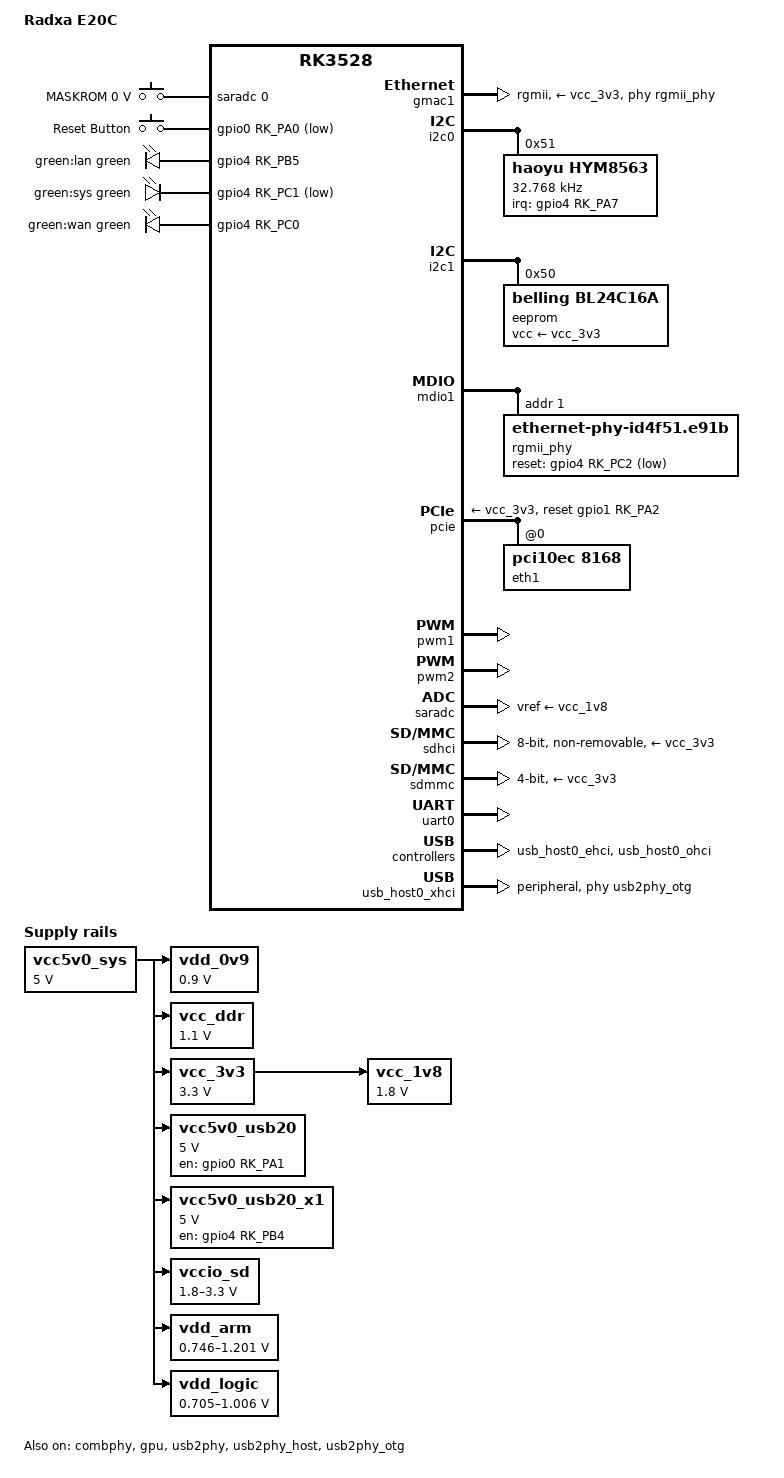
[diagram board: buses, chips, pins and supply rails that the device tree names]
// SPDX-License-Identifier: GPL-2.0+
/*
 * Copyright (c) 2020 Rockchip Electronics Co., Ltd
 * Copyright (c) 2024 Radxa Limited
 * Copyright (c) 2024 Yao Zi <ziyao@disroot.org>
 */

/dts-v1/;

#include <dt-bindings/input/input.h>
#include <dt-bindings/leds/common.h>
#include <dt-bindings/pwm/pwm.h>
#include "rk3528.dtsi"

/ {
	model = "Radxa E20C";
	compatible = "radxa,e20c", "rockchip,rk3528";

	aliases {
		ethernet0 = &gmac1;
		i2c1 = &i2c1;
		mmc0 = &sdmmc;
		mmc1 = &sdhci;
		serial0 = &uart0;
	};

	chosen {
		stdout-path = "serial0:1500000n8";
	};

	adc-keys {
		compatible = "adc-keys";
		io-channels = <&saradc 0>;
		io-channel-names = "buttons";
		keyup-threshold-microvolt = <1800000>;
		poll-interval = <100>;

		button-maskrom {
			label = "MASKROM";
			linux,code = <KEY_SETUP>;
			press-threshold-microvolt = <0>;
		};
	};

	gpio-keys {
		compatible = "gpio-keys";
		pinctrl-names = "default";
		pinctrl-0 = <&user_key>;

		button-user {
			gpios = <&gpio0 RK_PA0 GPIO_ACTIVE_LOW>;
			label = "Reset Button";
			linux,code = <KEY_RESTART>;
			wakeup-source;
		};
	};

	leds {
		compatible = "gpio-leds";
		pinctrl-names = "default";
		pinctrl-0 = <&lan_led_g>, <&sys_led_g>, <&wan_led_g>;

		led-lan {
			color = <LED_COLOR_ID_GREEN>;
			default-state = "off";
			label = "green:lan";
			function = LED_FUNCTION_LAN;
			gpios = <&gpio4 RK_PB5 GPIO_ACTIVE_HIGH>;
			linux,default-trigger = "netdev";
		};

		led-sys {
			color = <LED_COLOR_ID_GREEN>;
			default-state = "on";
			label = "green:sys";
			function = LED_FUNCTION_HEARTBEAT;
			gpios = <&gpio4 RK_PC1 GPIO_ACTIVE_LOW>;
			linux,default-trigger = "heartbeat";
		};

		led-wan {
			color = <LED_COLOR_ID_GREEN>;
			default-state = "off";
			label = "green:wan";
			function = LED_FUNCTION_WAN;
			gpios = <&gpio4 RK_PC0 GPIO_ACTIVE_HIGH>;
			linux,default-trigger = "netdev";
		};
	};

	vdd_0v9: regulator-0v9-vdd {
		compatible = "regulator-fixed";
		regulator-name = "vdd_0v9";
		regulator-always-on;
		regulator-boot-on;
		regulator-min-microvolt = <900000>;
		regulator-max-microvolt = <900000>;
		vin-supply = <&vcc5v0_sys>;
	};

	vcc_ddr: regulator-1v1-vcc-ddr {
		compatible = "regulator-fixed";
		regulator-name = "vcc_ddr";
		regulator-always-on;
		regulator-boot-on;
		regulator-min-microvolt = <1100000>;
		regulator-max-microvolt = <1100000>;
		vin-supply = <&vcc5v0_sys>;
	};

	vcc_1v8: regulator-1v8-vcc {
		compatible = "regulator-fixed";
		regulator-name = "vcc_1v8";
		regulator-always-on;
		regulator-boot-on;
		regulator-min-microvolt = <1800000>;
		regulator-max-microvolt = <1800000>;
		vin-supply = <&vcc_3v3>;
	};

	vcc_3v3: regulator-3v3-vcc {
		compatible = "regulator-fixed";
		regulator-name = "vcc_3v3";
		regulator-always-on;
		regulator-boot-on;
		regulator-min-microvolt = <3300000>;
		regulator-max-microvolt = <3300000>;
		vin-supply = <&vcc5v0_sys>;
	};

	vcc5v0_sys: regulator-5v0-vcc-sys {
		compatible = "regulator-fixed";
		regulator-name = "vcc5v0_sys";
		regulator-always-on;
		regulator-boot-on;
		regulator-min-microvolt = <5000000>;
		regulator-max-microvolt = <5000000>;
	};

	vcc5v0_usb20: regulator-5v0-vcc-usb20 {
		compatible = "regulator-fixed";
		enable-active-high;
		gpios = <&gpio0 RK_PA1 GPIO_ACTIVE_HIGH>;
		pinctrl-names = "default";
		pinctrl-0 = <&usb_host_en>;
		regulator-name = "vcc5v0_usb20";
		regulator-min-microvolt = <5000000>;
		regulator-max-microvolt = <5000000>;
		vin-supply = <&vcc5v0_sys>;
	};

	/* In radxa_e20c_x1000_schematic.pdf, GPIO4 RK_PB4 is used as USB20_HOST_EN. */
	vcc5v0_usb20_x1: regulator-5v0-vcc-usb20-x1 {
		compatible = "regulator-fixed";
		enable-active-high;
		gpios = <&gpio4 RK_PB4 GPIO_ACTIVE_HIGH>;
		pinctrl-names = "default";
		pinctrl-0 = <&usb_host_en_x1>;
		regulator-always-on;
		regulator-boot-on;
		regulator-name = "vcc5v0_usb20_x1";
		regulator-min-microvolt = <5000000>;
		regulator-max-microvolt = <5000000>;
		vin-supply = <&vcc5v0_sys>;
	};

	vccio_sd: regulator-vccio-sd {
		compatible = "regulator-gpio";
		gpios = <&gpio4 RK_PB6 GPIO_ACTIVE_HIGH>;
		pinctrl-names = "default";
		pinctrl-0 = <&sdmmc_vol_ctrl_h>;
		regulator-name = "vccio_sd";
		regulator-min-microvolt = <1800000>;
		regulator-max-microvolt = <3300000>;
		states = <1800000 0x0>, <3300000 0x1>;
		vin-supply = <&vcc5v0_sys>;
	};

	vdd_arm: regulator-vdd-arm {
		compatible = "pwm-regulator";
		pwms = <&pwm1 0 5000 PWM_POLARITY_INVERTED>;
		pwm-supply = <&vcc5v0_sys>;
		regulator-name = "vdd_arm";
		regulator-always-on;
		regulator-boot-on;
		regulator-min-microvolt = <746000>;
		regulator-max-microvolt = <1201000>;
		regulator-settling-time-up-us = <250>;
	};

	vdd_logic: regulator-vdd-logic {
		compatible = "pwm-regulator";
		pwms = <&pwm2 0 5000 PWM_POLARITY_INVERTED>;
		pwm-supply = <&vcc5v0_sys>;
		regulator-name = "vdd_logic";
		regulator-always-on;
		regulator-boot-on;
		regulator-min-microvolt = <705000>;
		regulator-max-microvolt = <1006000>;
		regulator-settling-time-up-us = <250>;
	};
};

&combphy {
	status = "okay";
};

&cpu0 {
	cpu-supply = <&vdd_arm>;
};

&cpu1 {
	cpu-supply = <&vdd_arm>;
};

&cpu2 {
	cpu-supply = <&vdd_arm>;
};

&cpu3 {
	cpu-supply = <&vdd_arm>;
};

&gmac1 {
	/* Please Fix me:
	 * When snps,tso exists,
	 * it may cause the netdev watchdog to time out
	 */
	/delete-property/ snps,tso;

	clock_in_out = "output";
	label = "eth0";
	phy-handle = <&rgmii_phy>;
	phy-mode = "rgmii";
	phy-supply = <&vcc_3v3>;
	pinctrl-names = "default";
	pinctrl-0 = <&rgmii_miim>, <&rgmii_tx_bus2>, <&rgmii_rx_bus2>,
		    <&rgmii_rgmii_clk>, <&rgmii_rgmii_bus>;

	tx_delay = <0x2e>;
	rx_delay = <0x16>;

	status = "okay";
};

&gpu {
	mali-supply = <&vdd_logic>;
	status = "okay";
};

&i2c0 {
	pinctrl-names = "default";
	pinctrl-0 = <&i2c0m1_xfer>;
	status = "okay";

	hym8563: hym8563@51 {
		compatible = "haoyu,hym8563";
		reg = <0x51>;
		#clock-cells = <0>;
		clock-frequency = <32768>;
		clock-output-names = "hym8563";
		pinctrl-names = "default";
		pinctrl-0 = <&hym8563_int>;
		interrupt-parent = <&gpio4>;
		interrupts = <RK_PA7 IRQ_TYPE_LEVEL_LOW>;
		wakeup-source;
	};
};

&i2c0m1_xfer {
	rockchip,pins =
			/* i2c0_scl_m1 */
			<4 RK_PA1 2 &pcfg_pull_up>,
			/* i2c0_sda_m1 */
			<4 RK_PA0 2 &pcfg_pull_up>;
};

&i2c1 {
	pinctrl-names = "default";
	pinctrl-0 = <&i2c1m0_xfer>;
	status = "okay";

	eeprom@50 {
		compatible = "belling,bl24c16a", "atmel,24c16";
		reg = <0x50>;
		pagesize = <16>;
		read-only;
		vcc-supply = <&vcc_3v3>;
	};
};

&mdio1 {
	rgmii_phy: ethernet-phy@1 {
		/* Motorcomm YT8531 (Rockchip RK631) */
		compatible = "ethernet-phy-id4f51.e91b";
		reg = <0x1>;

		/* LED1(G): Activity */
		motorcomm,led1-triggers = "activity";
		/* LED2(Y): Link - 10/100/1000M */
		motorcomm,led2-triggers = "link-10", "link-100", "link-1000";

		pinctrl-names = "default";
		pinctrl-0 = <&gmac1_rstn_l>;
		reset-assert-us = <20000>;
		reset-deassert-us = <100000>;
		reset-gpios = <&gpio4 RK_PC2 GPIO_ACTIVE_LOW>;
	};
};

&pcie {
	pinctrl-names = "default";
	pinctrl-0 = <&pciem1_pins>;
	reset-gpios = <&gpio1 RK_PA2 GPIO_ACTIVE_HIGH>;
	vpcie3v3-supply = <&vcc_3v3>;
	status = "okay";

	pcie@0,0 {
		reg = <0x000000 0 0 0 0>;
		#address-cells = <3>;
		#size-cells = <2>;

		bus-range = <0x0 0xf>;
		device_type = "pci";
		ranges;

		pcie_eth: pcie-eth@0,0 {
			compatible = "pci10ec,8168";
			label = "eth1";
			reg = <0x000000 0 0 0 0>;
			realtek,led-data = <0x78>;
		};
	};
};

&pinctrl {
	ethernet {
		gmac1_rstn_l: gmac1-rstn-l {
			rockchip,pins = <4 RK_PC2 RK_FUNC_GPIO &pcfg_pull_none>;
		};
	};

	gpio-keys {
		user_key: user-key {
			rockchip,pins = <0 RK_PA0 RK_FUNC_GPIO &pcfg_pull_up>;
		};
	};

	hym8563 {
		hym8563_int: hym8563-int {
			rockchip,pins = <4 RK_PA7 RK_FUNC_GPIO &pcfg_pull_none>;
		};
	};

	leds {
		lan_led_g: lan-led-g {
			rockchip,pins = <4 RK_PB5 RK_FUNC_GPIO &pcfg_pull_none>;
		};

		sys_led_g: sys-led-g {
			rockchip,pins = <4 RK_PC1 RK_FUNC_GPIO &pcfg_pull_none>;
		};

		wan_led_g: wan-led-g {
			rockchip,pins = <4 RK_PC0 RK_FUNC_GPIO &pcfg_pull_none>;
		};
	};

	sdmmc {
		sdmmc_vol_ctrl_h: sdmmc-vol-ctrl-h {
			rockchip,pins = <4 RK_PB6 RK_FUNC_GPIO &pcfg_pull_none>;
		};
	};

	usb {
		usb_host_en: usb-host-en {
			rockchip,pins = <0 RK_PA1 RK_FUNC_GPIO &pcfg_pull_none>;
		};

		usb_host_en_x1: usb-host-en-x1 {
			rockchip,pins = <4 RK_PB4 RK_FUNC_GPIO &pcfg_pull_none>;
		};
	};
};

&pwm1 {
	pinctrl-names = "default";
	pinctrl-0 = <&pwm1m0_pins>;
	status = "okay";
};

&pwm2 {
	pinctrl-names = "default";
	pinctrl-0 = <&pwm2m0_pins>;
	status = "okay";
};

&saradc {
	vref-supply = <&vcc_1v8>;
	status = "okay";
};

&sdhci {
	bus-width = <8>;
	cap-mmc-highspeed;
	mmc-hs200-1_8v;
	no-sd;
	no-sdio;
	non-removable;
	vmmc-supply = <&vcc_3v3>;
	vqmmc-supply = <&vcc_1v8>;
	status = "okay";
};

&sdmmc {
	bus-width = <4>;
	cap-mmc-highspeed;
	cap-sd-highspeed;
	disable-wp;
	sd-uhs-sdr104;
	vmmc-supply = <&vcc_3v3>;
	vqmmc-supply = <&vccio_sd>;
	status = "okay";
};

&uart0 {
	pinctrl-names = "default";
	pinctrl-0 = <&uart0m0_xfer>;
	status = "okay";
};

&usb_host0_ehci {
	status = "okay";
};

&usb_host0_ohci {
	status = "okay";
};

/*
 * The usb controller can only work in peripheral mode, as it is
 * connected to one of the ports of an outward-facing usb hub.
 *
 * type_c-port (hub-input)
 *          |
 *       usb-hub
 *     |         |
 * uart-usb   usb-host0
 *     |
 *   uart0
 */
&usb_host0_xhci {
	dr_mode = "peripheral";
	extcon = <&usb2phy>;
	maximum-speed = "high-speed";
	phys = <&usb2phy_otg>;
	phy-names = "usb2-phy";
	status = "okay";
};

&usb2phy {
	status = "okay";
};

&usb2phy_host {
	phy-supply = <&vcc5v0_usb20>;
	status = "okay";
};

&usb2phy_otg {
	status = "okay";
};
